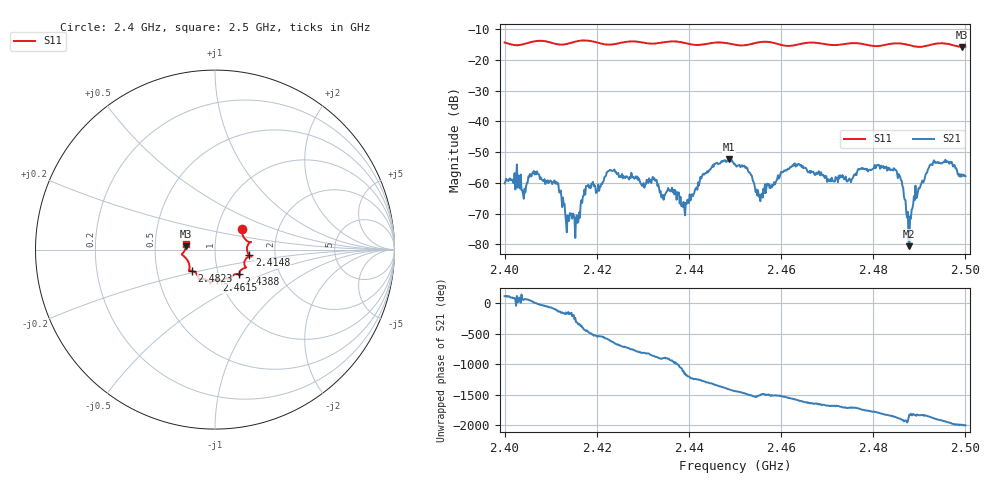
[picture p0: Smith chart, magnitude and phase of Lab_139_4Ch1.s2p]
# Hz S RI R 50
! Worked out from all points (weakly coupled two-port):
!   601 points, 2.4 GHz to 2.5 GHz, reference 50 ohm
!   highest |S21| = -52.37 dB at 2.4487 GHz (marker M1); lowest = -80.6 dB at 2.4878 GHz (marker M2)
!   lowest |S11| = -15.7 dB at 2.4993 GHz (marker M3), VSWR 1.39, Z = 36 + j1.32 ohm
!   |S11| at or under -10 dB: start of sweep to end of sweep
!   S12 and S22 are empty: the file has one direction only
!   S11 on the Smith chart (normalised r, x): 2.4 GHz: 1.31, +0.32; 2.4148 GHz: 1.47, -0.10; 2.4388 GHz: 1.25, -0.36; 2.4615 GHz: 0.97, -0.34; 2.4823 GHz: 0.75, -0.18; 2.5 GHz: 0.72, +0.04
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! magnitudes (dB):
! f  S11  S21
! 2.4 GHz  -14.3  -60.2
! 2.4112 GHz  -14.8  -59.7
! 2.4135 GHz  -14.8  -76.1
! 2.4148 GHz  -14.3  -70.0
! 2.4167 GHz  -13.7  -65.7
! 2.4228 GHz  -15.0  -55.8
! 2.4333 GHz  -14.5  -60.4
! 2.4388 GHz  -14.4  -66.2
! 2.443 GHz  -15.0  -57.3
! 2.4487 GHz  -14.6  -52.4
! 2.45 GHz  -15.0  -53.9
! 2.4555 GHz  -14.2  -66.0
! 2.4615 GHz  -15.4  -55.4
! 2.4667 GHz  -14.3  -56.6
! 2.4823 GHz  -15.2  -55.3
! 2.4833 GHz  -14.9  -55.7
! 2.486 GHz  -14.6  -59.1
! 2.4878 GHz  -15.2  -80.6
! 2.4893 GHz  -15.7  -65.0
! 2.4928 GHz  -14.9  -54.2
! 2.4993 GHz  -15.7  -57.8
! 2.5 GHz  -15.7  -57.8
